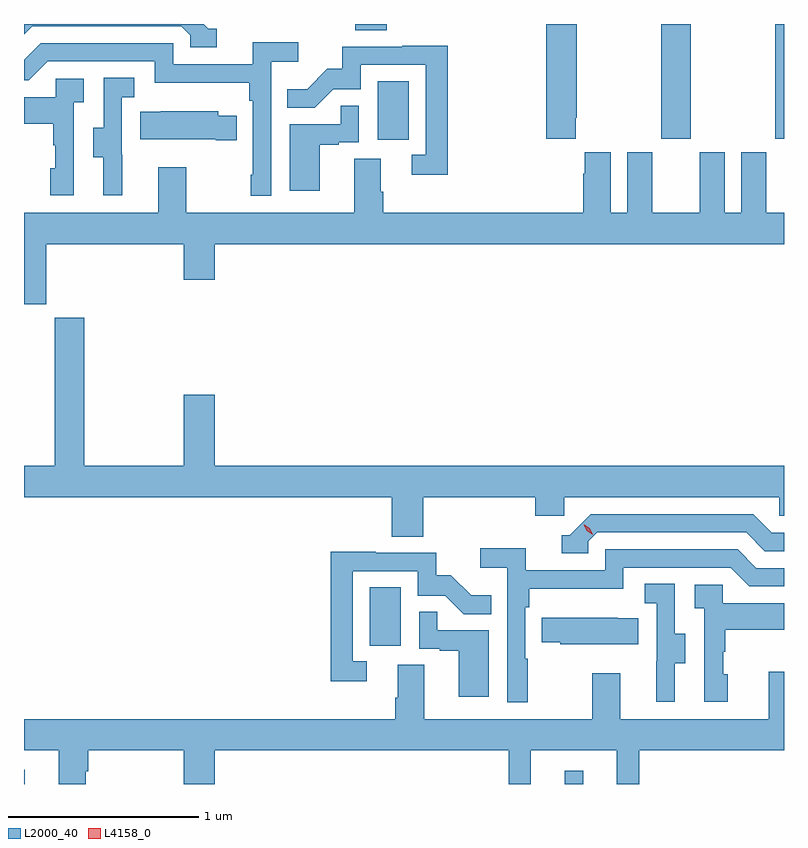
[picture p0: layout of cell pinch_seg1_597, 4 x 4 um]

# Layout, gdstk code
import gdstk
lib = gdstk.Library(unit=1e-6, precision=1e-09)
def R(c, l, rs):  # rectangles x0, y0, x1, y1
    for r in rs: c.add(gdstk.rectangle(r[:2], r[2:], *l))
def P(c, l, *ps):  # polygons
    for p in ps: c.add(gdstk.Polygon(p, *l))
L2000_40 = (2000, 40)
L4158_0 = (4158, 0)

pinch_seg1_597 = lib.new_cell('pinch_seg1_597')
R(pinch_seg1_597, L2000_40, [(1027.303,515.59,1027.306,515.665), (1030.149,515.59,1030.246,515.659), (1029.122,516.318,1029.286,516.625), (1029.164,518.982,1029.328,519.289), (1030.657,518.985,1030.812,519.59), (1031.257,518.985,1031.303,519.59), (1029.047,519.556,1029.212,519.59)])
P(pinch_seg1_597, L2000_40, [(1028.317,519.564),(1028.274,519.564),(1028.248,519.59),(1027.303,519.59),(1027.303,519.535),(1027.347,519.579),(1028.13,519.579),(1028.178,519.531),(1028.178,519.468),(1028.317,519.468)],
  [(1030.207,519.097),(1030.212,519.097),(1030.212,519.59),(1030.052,519.59),(1030.052,518.985),(1030.207,518.985)],
  [(1028.604,519.392),(1028.746,519.392),(1028.746,519.494),(1028.507,519.494),(1028.507,519.378),(1028.088,519.378),(1028.088,519.489),(1027.391,519.489),(1027.303,519.401),(1027.303,519.294),(1027.329,519.294),(1027.428,519.393),(1027.992,519.393),(1027.992,519.281),(1028.488,519.281),(1028.488,519.185),(1028.508,519.185),(1028.508,518.797),(1028.496,518.797),(1028.496,518.685),(1028.604,518.685)],
  [(1029.533,519.476),(1029.295,519.476),(1029.295,519.471),(1028.977,519.471),(1028.977,519.354),(1028.9,519.354),(1028.793,519.247),(1028.689,519.247),(1028.689,519.148),(1028.833,519.148),(1028.931,519.246),(1029.075,519.246),(1029.075,519.375),(1029.417,519.375),(1029.417,518.901),(1029.345,518.901),(1029.345,518.796),(1029.533,518.796)],
  [(1027.82,518.901),(1027.818,518.901),(1027.818,519.205),(1027.882,519.205),(1027.882,519.308),(1027.722,519.308),(1027.722,519.045),(1027.667,519.045),(1027.667,518.89),(1027.721,518.89),(1027.721,518.688),(1027.82,518.688)],
  [(1027.566,519.179),(1027.618,519.179),(1027.618,519.303),(1027.47,519.303),(1027.47,519.205),(1027.303,519.205),(1027.303,519.065),(1027.458,519.065),(1027.458,518.951),(1027.468,518.951),(1027.468,518.832),(1027.442,518.832),(1027.442,518.688),(1027.566,518.688)],
  [(1028.86,518.955),(1028.96,518.955),(1028.96,518.967),(1029.066,518.967),(1029.066,519.161),(1028.971,519.161),(1028.971,519.063),(1028.702,519.063),(1028.702,518.712),(1028.86,518.712)],
  [(1028.423,519.106),(1028.325,519.106),(1028.325,519.13),(1028.023,519.13),(1028.023,519.127),(1027.915,519.127),(1027.915,518.984),(1028.312,518.984),(1028.312,518.977),(1028.423,518.977)],
  [(1027.42,518.432),(1028.144,518.432),(1028.144,518.244),(1028.308,518.244),(1028.308,518.432),(1031.303,518.432),(1031.303,518.596),(1031.209,518.596),(1031.209,518.914),(1031.078,518.914),(1031.078,518.596),(1030.99,518.596),(1030.99,518.914),(1030.859,518.914),(1030.859,518.596),(1030.609,518.596),(1030.609,518.914),(1030.478,518.914),(1030.478,518.596),(1030.39,518.596),(1030.39,518.914),(1030.253,518.914),(1030.253,518.801),(1030.247,518.801),(1030.247,518.596),(1029.194,518.596),(1029.194,518.708),(1029.181,518.708),(1029.181,518.882),(1029.041,518.882),(1029.041,518.596),(1028.157,518.596),(1028.157,518.836),(1028.009,518.836),(1028.009,518.596),(1027.303,518.596),(1027.303,518.115),(1027.42,518.115)],
  [(1028.308,517.639),(1028.144,517.639),(1028.144,517.264),(1027.619,517.264),(1027.619,518.043),(1027.466,518.043),(1027.466,517.264),(1027.303,517.264),(1027.303,517.1),(1029.239,517.1),(1029.239,516.892),(1029.404,516.892),(1029.404,517.1),(1029.995,517.1),(1029.995,517.002),(1030.146,517.002),(1030.146,517.1),(1031.277,517.1),(1031.277,517.002),(1031.303,517.002),(1031.303,517.264),(1028.308,517.264)],
  [(1030.272,516.867),(1030.32,516.915),(1031.103,516.915),(1031.202,516.816),(1031.303,516.816),(1031.303,516.912),(1031.239,516.912),(1031.14,517.011),(1030.287,517.011),(1030.176,516.9),(1030.133,516.9),(1030.133,516.804),(1030.272,516.804)],
  [(1029.955,516.248),(1029.942,516.248),(1029.942,516.521),(1029.962,516.521),(1029.962,516.617),(1030.458,516.617),(1030.458,516.729),(1031.022,516.729),(1031.121,516.63),(1031.303,516.63),(1031.303,516.726),(1031.158,516.726),(1031.059,516.825),(1030.362,516.825),(1030.362,516.714),(1029.944,516.714),(1029.944,516.83),(1029.705,516.83),(1029.705,516.728),(1029.846,516.728),(1029.846,516.02),(1029.955,516.02)],
  [(1029.106,516.237),(1029.033,516.237),(1029.033,516.711),(1029.375,516.711),(1029.375,516.582),(1029.519,516.582),(1029.617,516.484),(1029.761,516.484),(1029.761,516.583),(1029.657,516.583),(1029.55,516.69),(1029.474,516.69),(1029.474,516.807),(1029.155,516.807),(1029.155,516.812),(1028.917,516.812),(1028.917,516.132),(1029.106,516.132)],
  [(1030.729,516.226),(1030.783,516.226),(1030.783,516.381),(1030.728,516.381),(1030.728,516.644),(1030.569,516.644),(1030.569,516.541),(1030.632,516.541),(1030.632,516.237),(1030.631,516.237),(1030.631,516.024),(1030.729,516.024)],
  [(1031.008,516.168),(1030.983,516.168),(1030.983,516.287),(1030.993,516.287),(1030.993,516.401),(1031.303,516.401),(1031.303,516.541),(1030.98,516.541),(1030.98,516.639),(1030.833,516.639),(1030.833,516.515),(1030.884,516.515),(1030.884,516.024),(1031.008,516.024)],
  [(1029.748,516.399),(1029.479,516.399),(1029.479,516.497),(1029.384,516.497),(1029.384,516.303),(1029.491,516.303),(1029.491,516.291),(1029.59,516.291),(1029.59,516.048),(1029.748,516.048)],
  [(1030.535,516.463),(1030.427,516.463),(1030.427,516.466),(1030.027,516.466),(1030.027,516.337),(1030.125,516.337),(1030.125,516.326),(1030.535,516.326)],
  [(1027.627,515.656),(1027.64,515.656),(1027.64,515.768),(1028.144,515.768),(1028.144,515.59),(1028.308,515.59),(1028.308,515.768),(1029.853,515.768),(1029.853,515.59),(1029.971,515.59),(1029.971,515.768),(1030.424,515.768),(1030.424,515.59),(1030.541,515.59),(1030.541,515.768),(1031.303,515.768),(1031.303,516.181),(1031.222,516.181),(1031.222,515.932),(1030.441,515.932),(1030.441,516.172),(1030.294,516.172),(1030.294,515.932),(1029.409,515.932),(1029.409,516.218),(1029.269,516.218),(1029.269,516.044),(1029.257,516.044),(1029.257,515.932),(1027.303,515.932),(1027.303,515.768),(1027.487,515.768),(1027.487,515.59),(1027.627,515.59)])
P(pinch_seg1_597, L4158_0, [(1030.296,516.902),(1030.266,516.922),(1030.25,516.954),(1030.25,516.954),(1030.251,516.954),(1030.281,516.935),(1030.297,516.902),(1030.297,516.902)])

lib.write_gds('pinch_seg1_597.gds')
